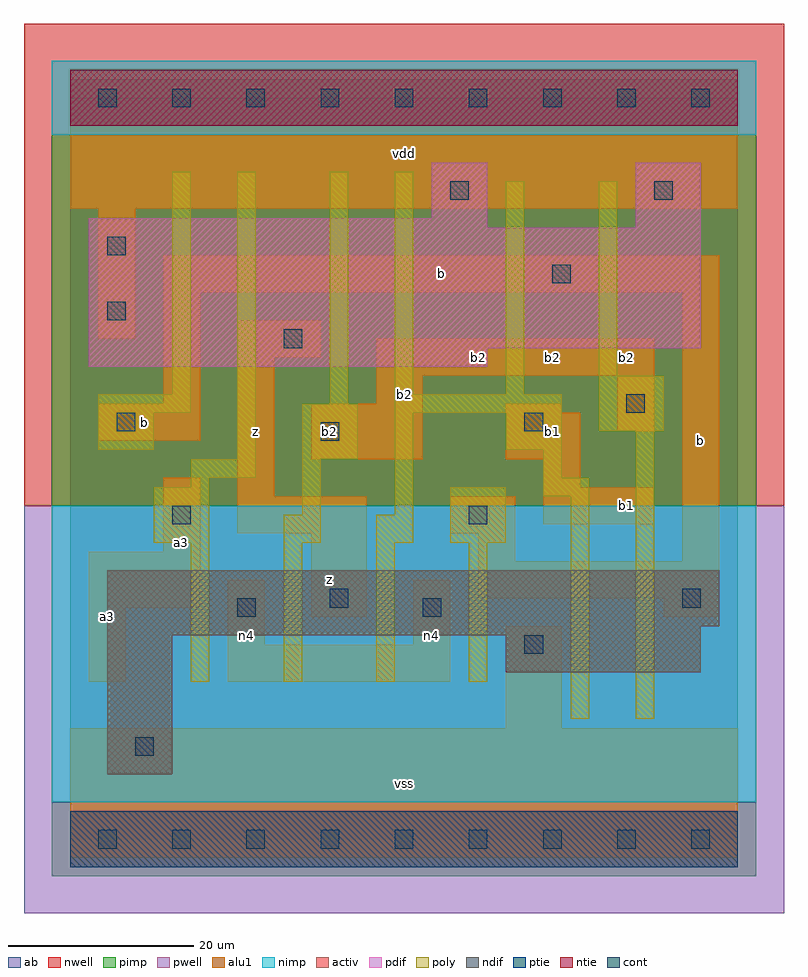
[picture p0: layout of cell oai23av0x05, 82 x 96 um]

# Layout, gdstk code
import gdstk
lib = gdstk.Library(unit=1e-6, precision=1e-09)
def R(c, l, rs):  # rectangles x0, y0, x1, y1
    for r in rs: c.add(gdstk.rectangle(r[:2], r[2:], *l))
def A(c, l, x, y, w, h, nx, ny, dx, dy):  # array of equal rectangles
    R(c, l, [(x+i*dx, y+j*dy, x+i*dx+w, y+j*dy+h) for i in range(nx) for j in range(ny)])
ndif = (3, 0)
pdif = (4, 0)
ntie = (5, 0)
ptie = (6, 0)
cont = (25, 0)
pwell = (41, 0)
nwell = (42, 0)
activ = (43, 0)
pimp = (44, 0)
nimp = (45, 0)
poly = (46, 0)
alu1 = (49, 0)
ab = (63, 0)

oai23av0x05 = lib.new_cell('oai23av0x05')
R(oai23av0x05, ndif, [(4,7,11,22), (47,18,68,22), (4,22,68,23), (4,23,70,29)])
R(oai23av0x05, pdif, [(2,51,45,53), (2,53,68,66), (2,66,45,67), (61,66,68,73), (39,67,45,73)])
R(oai23av0x05, ntie, [(0,77,72,83)])
R(oai23av0x05, ptie, [(0,-3,72,3)])
A(oai23av0x05, cont, 3, -1, 2, 2, 9, 2, 8, 80)
R(oai23av0x05, cont, [(7,9,9,11), (49,20,51,22), (18,24,20,26), (38,24,40,26), (28,25,30,27), (66,25,68,27), (11,34,13,36), (43,34,45,36), (27,43,29,45), (5,44,7,46), (49,44,51,46), (60,46,62,48), (23,53,25,55), (4,56,6,58), (52,60,54,62), (4,63,6,65), (41,69,43,71), (63,69,65,71)])
R(oai23av0x05, pwell, [(-5,-8,77,36)])
R(oai23av0x05, nwell, [(-5,36,77,88)])
R(oai23av0x05, activ, [(0,-3,72,3), (4,7,11,22), (47,18,68,22), (4,22,68,23), (4,23,70,29), (2,51,45,53), (2,53,68,66), (2,66,45,67), (61,66,68,73), (39,67,45,73), (0,77,72,83)])
R(oai23av0x05, pimp, [(-2,-4,74,4), (-2,36,74,76)])
R(oai23av0x05, nimp, [(-2,4,74,36), (-2,76,74,84)])
A(oai23av0x05, poly, 13, 17, 2, 15, 4, 1, 10, 0)
R(oai23av0x05, poly, [(54,13,56,37), (61,13,63,44), (9,32,15,38), (23,32,27,35), (33,32,37,35), (41,32,47,38), (25,35,27,41), (35,35,37,46), (51,37,56,39), (13,38,15,39), (13,39,20,41), (51,39,53,42), (18,41,20,72), (25,41,31,47), (3,42,9,46), (47,42,53,46), (57,44,64,50), (3,46,13,48), (35,46,53,48), (28,47,30,72), (11,48,13,72), (35,48,37,72), (47,48,49,71), (57,50,59,71)])
R(oai23av0x05, alu1, [(0,-2,72,12), (47,12,53,23), (2,17,6,25), (17,17,41,21), (17,21,21,28), (37,21,41,28), (26,24,32,33), (64,24,70,26), (2,25,14,31), (44,26,70,30), (44,30,48,33), (66,30,70,59), (10,31,14,39), (18,33,32,37), (41,33,48,37), (51,34,63,38), (18,37,22,52), (51,38,55,41), (26,41,38,47), (47,41,55,46), (3,43,14,47), (59,44,63,50), (47,46,53,47), (10,47,14,59), (33,47,38,50), (33,50,63,54), (18,52,27,56), (3,54,7,68), (10,59,70,63), (0,68,72,82)])
R(oai23av0x05, ab, [(0,0,72,80)])
oai23av0x05.add(gdstk.Label('b', (8,45), layer=49, texttype=0))
oai23av0x05.add(gdstk.Label('n4', (19,22), layer=49, texttype=0))
oai23av0x05.add(gdstk.Label('n4', (39,22), layer=49, texttype=0))
oai23av0x05.add(gdstk.Label('b', (40,61), layer=49, texttype=0))
oai23av0x05.add(gdstk.Label('b', (68,43), layer=49, texttype=0))
oai23av0x05.add(gdstk.Label('a3', (12,32), layer=49, texttype=0))
oai23av0x05.add(gdstk.Label('a3', (4,24), layer=49, texttype=0))
oai23av0x05.add(gdstk.Label('z', (28,28), layer=49, texttype=0))
oai23av0x05.add(gdstk.Label('b2', (28,44), layer=49, texttype=0))
oai23av0x05.add(gdstk.Label('z', (20,44), layer=49, texttype=0))
oai23av0x05.add(gdstk.Label('vss', (36,6), layer=49, texttype=0))
oai23av0x05.add(gdstk.Label('b1', (52,44), layer=49, texttype=0))
oai23av0x05.add(gdstk.Label('b2', (36,48), layer=49, texttype=0))
oai23av0x05.add(gdstk.Label('b2', (52,52), layer=49, texttype=0))
oai23av0x05.add(gdstk.Label('b2', (44,52), layer=49, texttype=0))
oai23av0x05.add(gdstk.Label('vdd', (36,74), layer=49, texttype=0))
oai23av0x05.add(gdstk.Label('b1', (60,36), layer=49, texttype=0))
oai23av0x05.add(gdstk.Label('b2', (60,52), layer=49, texttype=0))

lib.write_gds('oai23av0x05.gds')
